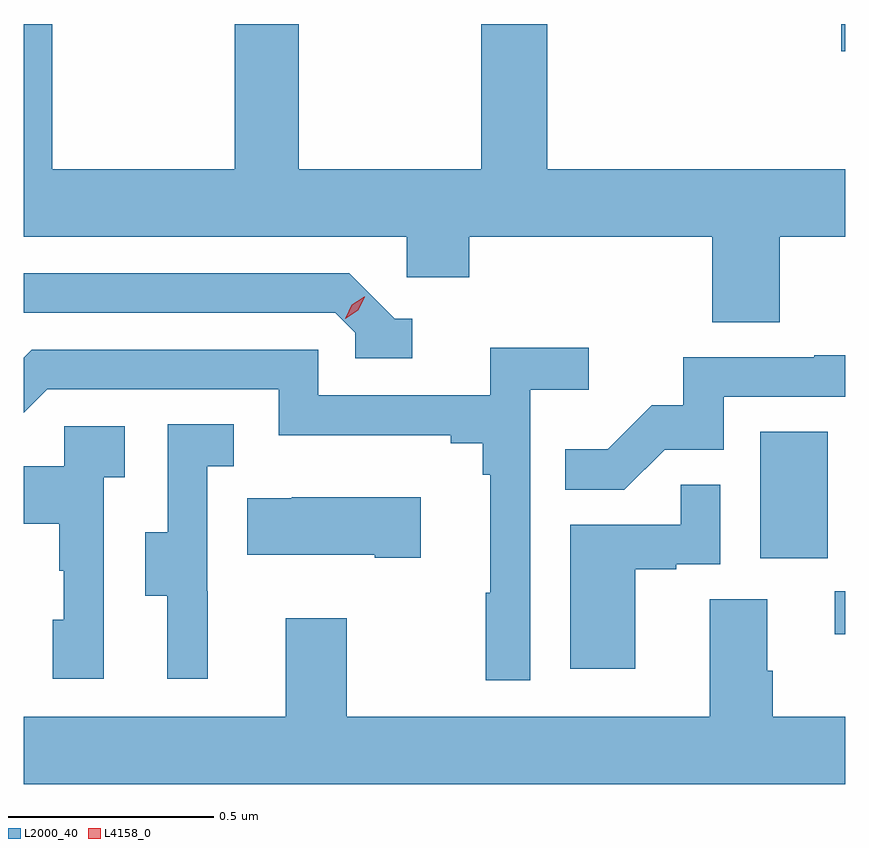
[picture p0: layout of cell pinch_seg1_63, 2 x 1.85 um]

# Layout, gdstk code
import gdstk
lib = gdstk.Library(unit=1e-6, precision=1e-09)
def R(c, l, rs):  # rectangles x0, y0, x1, y1
    for r in rs: c.add(gdstk.rectangle(r[:2], r[2:], *l))
def P(c, l, *ps):  # polygons
    for p in ps: c.add(gdstk.Polygon(p, *l))
L2000_40 = (2000, 40)
L4158_0 = (4158, 0)

pinch_seg1_63 = lib.new_cell('pinch_seg1_63')
R(pinch_seg1_63, L2000_40, [(1035.783,566.748,1035.809,566.853), (1035.602,566.934,1035.766,567.241), (1035.799,568.168,1035.809,568.234)])
P(pinch_seg1_63, L2000_40, [(1035.65,567.716),(1035.809,567.716),(1035.809,567.88),(1035.083,567.88),(1035.083,568.234),(1034.923,568.234),(1034.923,567.88),(1034.478,567.88),(1034.478,568.234),(1034.323,568.234),(1034.323,567.88),(1033.878,567.88),(1033.878,568.234),(1033.809,568.234),(1033.809,567.716),(1034.742,567.716),(1034.742,567.618),(1034.894,567.618),(1034.894,567.716),(1035.485,567.716),(1035.485,567.508),(1035.65,567.508)],
  [(1034.755,567.516),(1034.712,567.516),(1034.601,567.627),(1033.809,567.627),(1033.809,567.531),(1034.568,567.531),(1034.616,567.483),(1034.616,567.42),(1034.755,567.42)],
  [(1035.042,567.344),(1035.184,567.344),(1035.184,567.446),(1034.945,567.446),(1034.945,567.33),(1034.526,567.33),(1034.526,567.441),(1033.829,567.441),(1033.809,567.421),(1033.809,567.288),(1033.866,567.345),(1034.43,567.345),(1034.43,567.233),(1034.849,567.233),(1034.849,567.214),(1034.926,567.214),(1034.926,567.137),(1034.945,567.137),(1034.945,566.849),(1034.934,566.849),(1034.934,566.637),(1035.042,566.637)],
  [(1035.369,567.198),(1035.513,567.198),(1035.513,567.327),(1035.809,567.327),(1035.809,567.428),(1035.733,567.428),(1035.733,567.423),(1035.415,567.423),(1035.415,567.306),(1035.338,567.306),(1035.231,567.199),(1035.127,567.199),(1035.127,567.1),(1035.271,567.1)],
  [(1034.257,566.853),(1034.256,566.853),(1034.256,567.157),(1034.32,567.157),(1034.32,567.26),(1034.16,567.26),(1034.16,566.997),(1034.105,566.997),(1034.105,566.842),(1034.159,566.842),(1034.159,566.64),(1034.257,566.64)],
  [(1034.004,567.131),(1034.055,567.131),(1034.055,567.255),(1033.908,567.255),(1033.908,567.157),(1033.809,567.157),(1033.809,567.017),(1033.896,567.017),(1033.896,566.903),(1033.906,566.903),(1033.906,566.784),(1033.88,566.784),(1033.88,566.64),(1034.004,566.64)],
  [(1035.298,566.907),(1035.398,566.907),(1035.398,566.919),(1035.504,566.919),(1035.504,567.113),(1035.409,567.113),(1035.409,567.015),(1035.14,567.015),(1035.14,566.664),(1035.298,566.664)],
  [(1034.776,567.082),(1034.461,567.082),(1034.461,567.079),(1034.353,567.079),(1034.353,566.942),(1034.663,566.942),(1034.663,566.935),(1034.776,566.935)],
  [(1035.809,566.548),(1035.632,566.548),(1035.632,566.66),(1035.619,566.66),(1035.619,566.834),(1035.479,566.834),(1035.479,566.548),(1034.595,566.548),(1034.595,566.788),(1034.447,566.788),(1034.447,566.548),(1033.809,566.548),(1033.809,566.384),(1035.809,566.384)])
P(pinch_seg1_63, L4158_0, [(1034.592,567.517),(1034.592,567.517),(1034.608,567.55),(1034.638,567.57),(1034.639,567.57),(1034.639,567.57),(1034.623,567.537),(1034.592,567.517)])

lib.write_gds('pinch_seg1_63.gds')
